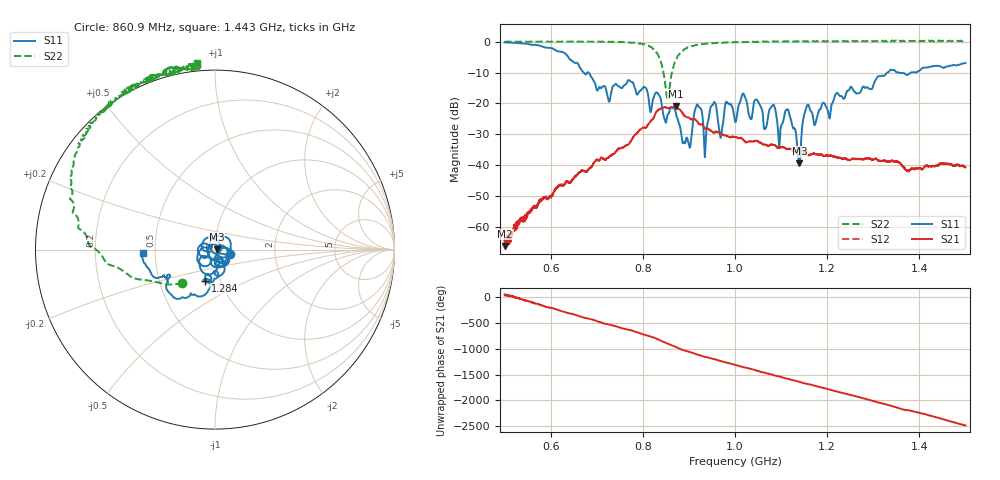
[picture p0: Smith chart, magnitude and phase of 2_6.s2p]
!Keysight Technologies,N5242B,MY48420860,A.13.80.08
!Date: Saturday, September 26, 2020 13:23:28
!Correction: S11(Full 2 Port(1,2))
!S21(Full 2 Port(1,2))
!S12(Full 2 Port(1,2))
!S22(Full 2 Port(1,2))
!S2P File: Measurements: S11, S21, S12, S22:
# Hz S  dB  R 50
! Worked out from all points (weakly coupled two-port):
!   2650 points, 500 MHz to 1.5 GHz, reference 50 ohm
!   highest |S21| = -20.88 dB at 871.1 MHz (marker M1); lowest = -66.1 dB at 501.1 MHz (marker M2)
!   lowest |S11| = -39.4 dB at 1.14 GHz (marker M3), VSWR 1.02, Z = 51.1 + j0.211 ohm
!   |S11| at or under -10 dB: 671.8 MHz to 679.6 MHz (7.836 MHz wide, 1.16 % of centre); 682.5 MHz to 1.33 GHz (647.6 MHz wide, 64.4 % of centre); 1.356 GHz to 1.382 GHz (25.66 MHz wide, 1.87 % of centre)
!   |S22| runs from -18.9 to 0.4 dB; largest |S21 - S12| = 0.00051
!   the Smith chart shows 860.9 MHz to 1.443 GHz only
!   S11 on the Smith chart (normalised r, x): 860.9 MHz: 1.18, -0.06; 1.284 GHz: 0.85, -0.30; 1.443 GHz: 0.43, -0.02
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5e8  -0.24 -166.2  -63.18 39.0  -65.09 35.0  -0.01 147.2
5.011325e8  -0.25 -166.8  -66.09 29.2  -65.53 31.8  -0.01 147.3
6.041903e8  -2.21 126.7  -49.15 136.7  -49.67 138.5  -0.02 139.1
6.668554e8  -9.12 77.9  -41.65 -28.3  -41.82 -28.6  -0.02 132.7
8.337108e8  -16.97 1.3  -22.05 -107.2  -22.07 -107.3  -4.49 64.1
8.608909e8  -21.11 -17.1  -21.44 149.9  -21.48 149.8  -11.70 -134.3
8.710834e8  -22.75 -74.6  -20.88 111.0  -20.91 110.8  -6.10 -162.6
9.00151e8  -33.34 -86.0  -24.58 16.8  -24.58 16.8  -1.73 164.7
9.18271e8  -20.28 31.9  -25.86 -37.9  -25.88 -38.0  -1.01 154.3
9.356361e8  -34.47 12.3  -28.14 -81.0  -28.19 -81.4  -0.66 148.2
9.526236e8  -20.32 -35.0  -29.37 -120.5  -29.40 -120.5  -0.46 143.6
9.684787e8  -30.98 -63.1  -29.64 -158.7  -29.67 -159.0  -0.29 140.6
1.000189e9  -25.77 -97.3  -30.78 127.0  -30.83 126.9  -0.15 135.7
1.097206e9  -32.24 -160.9  -34.28 -101.7  -34.30 -101.9  0.04 123.7
1.113439e9  -21.90 139.4  -34.76 -141.1  -34.71 -140.9  0.09 122.5
1.139864e9  -39.41 11.1  -35.30 157.4  -35.34 157.5  0.17 120.3
1.153077e9  -22.20 -13.2  -36.13 124.9  -36.12 124.3  0.08 118.3
1.166667e9  -22.85 -74.8  -36.41 100.3  -36.46 100.0  0.02 117.6
1.284447e9  -14.78 -107.3  -37.78 -170.5  -37.84 -170.5  0.18 107.8
1.333522e9  -9.79 -124.6  -38.93 70.2  -38.88 69.8  0.35 104.1
1.44262e9  -7.92 -177.7  -39.88 -175.3  -39.71 -175.9  0.38 95.5
1.5e9  -6.94 164.7  -40.67 38.6  -40.55 38.3  0.16 90.9
